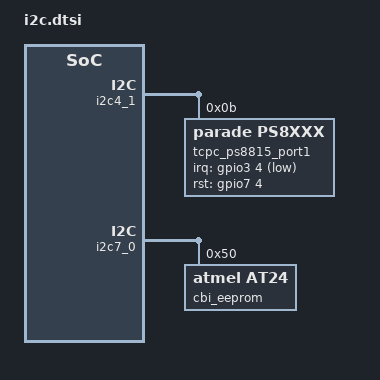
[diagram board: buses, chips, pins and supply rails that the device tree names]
&i2c4_1 {
	tcpc_ps8815_port1: ps8xxx@b {
		compatible = "parade,ps8xxx";
		reg = <0xb>;
		tcpc-flags = <(
			TCPC_FLAGS_TCPCI_REV2_0 |
			TCPC_FLAGS_TCPCI_REV2_0_NO_VSAFE0V |
			TCPC_FLAGS_CONTROL_VCONN |
			TCPC_FLAGS_CONTROL_FRS)>;
		/* a duplicate of the <&gpio_usb_c1_tcpc_int_odl> node in
		 * "named-gpios". This is the Zephyr preferred style,
		 * the "named-gpios" node will be dealt with at a later date.
		 */
		irq-gpios = <&gpio3 4 GPIO_ACTIVE_LOW>;
		/* a duplicate of the <&gpio_usb_c1_rt_rst_r_odl> node in
		 * "named-gpios". This is the Zephyr preferred style,
		 * the "named-gpios" node will be dealt with at a later date.
		 */
		rst-gpios = <&gpio7 4 0>;
		is-alt;
	};
};

&i2c7_0 {
	cbi_eeprom: eeprom@50 {
		compatible = "atmel,at24";
		reg = <0x50>;
		size = <2048>;
		pagesize = <16>;
		address-width = <8>;
		timeout = <5>;
	};
};
